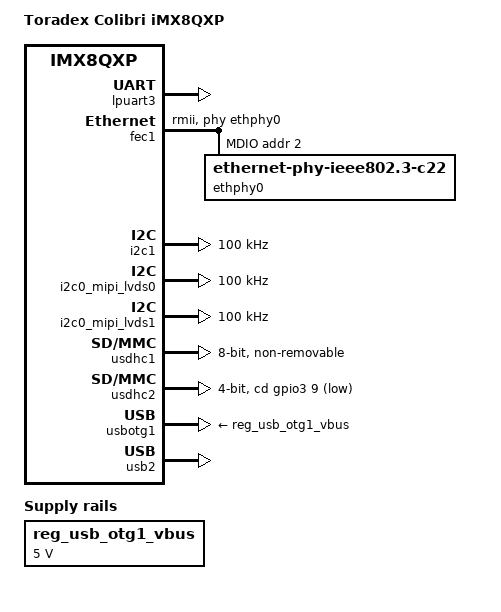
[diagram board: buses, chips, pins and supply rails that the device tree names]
/*
 * Copyright (C) 2018, Toradex AG
 *
 * This program is free software; you can redistribute it and/or
 * modify it under the terms of the GNU General Public License
 * as published by the Free Software Foundation; either version 2
 * of the License, or (at your option) any later version.
 *
 * This program is distributed in the hope that it will be useful,
 * but WITHOUT ANY WARRANTY; without even the implied warranty of
 * MERCHANTABILITY or FITNESS FOR A PARTICULAR PURPOSE.  See the
 * GNU General Public License for more details.
 */

/dts-v1/;

/* First 128KB is for PSCI ATF. */
/* Last 127M is for M4/RPMSG */
/memreserve/ 0x80000000 0x08000000;

#include "fsl-imx8qxp.dtsi"

/ {
	model = "Toradex Colibri iMX8QXP";
	compatible = "toradex,imx8qxp-colibri", "fsl,imx8qxp";

	chosen {
		bootargs = "console=ttyLP3,115200 earlycon=lpuart32,0x5a090000,115200";
		stdout-path = &lpuart3;
	};

	regulators {
		compatible = "simple-bus";
		#address-cells = <1>;
		#size-cells = <0>;

#if 0
		reg_usdhc2_vmmc: usdhc2_vmmc {
			compatible = "regulator-fixed";
			regulator-name = "SD1_SPWR";
			regulator-min-microvolt = <3000000>;
			regulator-max-microvolt = <3000000>;
			gpio = <&gpio4 19 GPIO_ACTIVE_HIGH>;
			enable-active-high;
			startup-delay-us = <100>;
			off-on-delay-us = <12000>;
		};
#endif
		reg_usb_otg1_vbus: regulator@0 {
			compatible = "regulator-fixed";
			reg = <0>;
			regulator-name = "usb_otg1_vbus";
			regulator-min-microvolt = <5000000>;
			regulator-max-microvolt = <5000000>;
			enable-active-high;
		};

	};

};

&iomuxc {
	pinctrl-names = "default";
	imx8qxp-mek {

		pinctrl_lpuart0: lpuart0grp {
			fsl,pins = <
				SC_P_UART0_RX_ADMA_UART0_RX	0x06000020
				SC_P_UART0_TX_ADMA_UART0_TX	0x06000020
			>;
		};

		pinctrl_lpuart3: lpuart3grp {
			fsl,pins = <
				SC_P_FLEXCAN2_RX_ADMA_UART3_RX	0x06000020
				SC_P_FLEXCAN2_TX_ADMA_UART3_TX	0x06000020
			>;
		};

		pinctrl_fec1: fec1grp {
			fsl,pins = <
				SC_P_ENET0_MDC_CONN_ENET0_MDC			0x06000048
				SC_P_ENET0_MDIO_CONN_ENET0_MDIO			0x06000048
				SC_P_ENET0_RGMII_TX_CTL_CONN_ENET0_RGMII_TX_CTL	0x06000048
				SC_P_ENET0_RGMII_TXC_CONN_ENET0_RCLK50M_OUT	0x06000048
				SC_P_ENET0_RGMII_TXD0_CONN_ENET0_RGMII_TXD0	0x06000048
				SC_P_ENET0_RGMII_TXD1_CONN_ENET0_RGMII_TXD1	0x06000048
				SC_P_ENET0_RGMII_RX_CTL_CONN_ENET0_RGMII_RX_CTL	0x06000048
				SC_P_ENET0_RGMII_RXD0_CONN_ENET0_RGMII_RXD0	0x06000048
				SC_P_ENET0_RGMII_RXD1_CONN_ENET0_RGMII_RXD1	0x06000048
				SC_P_ENET0_RGMII_RXD2_CONN_ENET0_RMII_RX_ER	0x06000048
			>;
		};
#if 0
		pinctrl_fec2: fec2grp {
			fsl,pins = <
				SC_P_ESAI0_SCKR_CONN_ENET1_RGMII_TX_CTL		0x06000048
				SC_P_ESAI0_FSR_CONN_ENET1_RGMII_TXC		0x06000048
				SC_P_ESAI0_TX4_RX1_CONN_ENET1_RGMII_TXD0	0x06000048
				SC_P_ESAI0_TX5_RX0_CONN_ENET1_RGMII_TXD1	0x06000048
				SC_P_ESAI0_FST_CONN_ENET1_RGMII_TXD2		0x06000048
				SC_P_ESAI0_SCKT_CONN_ENET1_RGMII_TXD3		0x06000048
				SC_P_ESAI0_TX0_CONN_ENET1_RGMII_RXC		0x06000048
				SC_P_SPDIF0_TX_CONN_ENET1_RGMII_RX_CTL		0x06000048
				SC_P_SPDIF0_RX_CONN_ENET1_RGMII_RXD0		0x06000048
				SC_P_ESAI0_TX3_RX2_CONN_ENET1_RGMII_RXD1	0x06000048
				SC_P_ESAI0_TX2_RX3_CONN_ENET1_RGMII_RXD2	0x06000048
				SC_P_ESAI0_TX1_CONN_ENET1_RGMII_RXD3		0x06000048
			>;
		};
#endif

		pinctrl_lpi2c1: lpi1cgrp {
			fsl,pins = <
				SC_P_MIPI_DSI0_GPIO0_00_ADMA_I2C1_SCL	0x06000020
				SC_P_MIPI_DSI0_GPIO0_01_ADMA_I2C1_SDA	0x06000020
			>;
		};

		pinctrl_usdhc1: usdhc1grp {
			fsl,pins = <
				SC_P_EMMC0_CLK_CONN_EMMC0_CLK		0x06000041
				SC_P_EMMC0_CMD_CONN_EMMC0_CMD		0x00000021
				SC_P_EMMC0_DATA0_CONN_EMMC0_DATA0	0x00000021
				SC_P_EMMC0_DATA1_CONN_EMMC0_DATA1	0x00000021
				SC_P_EMMC0_DATA2_CONN_EMMC0_DATA2	0x00000021
				SC_P_EMMC0_DATA3_CONN_EMMC0_DATA3	0x00000021
				SC_P_EMMC0_DATA4_CONN_EMMC0_DATA4	0x00000021
				SC_P_EMMC0_DATA5_CONN_EMMC0_DATA5	0x00000021
				SC_P_EMMC0_DATA6_CONN_EMMC0_DATA6	0x00000021
				SC_P_EMMC0_DATA7_CONN_EMMC0_DATA7	0x00000021
				SC_P_EMMC0_STROBE_CONN_EMMC0_STROBE	0x06000041
				SC_P_EMMC0_RESET_B_CONN_EMMC0_RESET_B	0x00000021
			>;
		};

		pinctrl_usdhc1_100mhz: usdhc1grp100mhz {
			fsl,pins = <
				SC_P_EMMC0_CLK_CONN_EMMC0_CLK		0x06000040
				SC_P_EMMC0_CMD_CONN_EMMC0_CMD		0x00000020
				SC_P_EMMC0_DATA0_CONN_EMMC0_DATA0	0x00000020
				SC_P_EMMC0_DATA1_CONN_EMMC0_DATA1	0x00000020
				SC_P_EMMC0_DATA2_CONN_EMMC0_DATA2	0x00000020
				SC_P_EMMC0_DATA3_CONN_EMMC0_DATA3	0x00000020
				SC_P_EMMC0_DATA4_CONN_EMMC0_DATA4	0x00000020
				SC_P_EMMC0_DATA5_CONN_EMMC0_DATA5	0x00000020
				SC_P_EMMC0_DATA6_CONN_EMMC0_DATA6	0x00000020
				SC_P_EMMC0_DATA7_CONN_EMMC0_DATA7	0x00000020
				SC_P_EMMC0_STROBE_CONN_EMMC0_STROBE	0x06000040
				SC_P_EMMC0_RESET_B_CONN_EMMC0_RESET_B	0x00000020
			>;
		};

		pinctrl_usdhc1_200mhz: usdhc1grp200mhz {
			fsl,pins = <
				SC_P_EMMC0_CLK_CONN_EMMC0_CLK		0x06000040
				SC_P_EMMC0_CMD_CONN_EMMC0_CMD		0x00000020
				SC_P_EMMC0_DATA0_CONN_EMMC0_DATA0	0x00000020
				SC_P_EMMC0_DATA1_CONN_EMMC0_DATA1	0x00000020
				SC_P_EMMC0_DATA2_CONN_EMMC0_DATA2	0x00000020
				SC_P_EMMC0_DATA3_CONN_EMMC0_DATA3	0x00000020
				SC_P_EMMC0_DATA4_CONN_EMMC0_DATA4	0x00000020
				SC_P_EMMC0_DATA5_CONN_EMMC0_DATA5	0x00000020
				SC_P_EMMC0_DATA6_CONN_EMMC0_DATA6	0x00000020
				SC_P_EMMC0_DATA7_CONN_EMMC0_DATA7	0x00000020
				SC_P_EMMC0_STROBE_CONN_EMMC0_STROBE	0x06000040
				SC_P_EMMC0_RESET_B_CONN_EMMC0_RESET_B	0x00000020
			>;
		};

		pinctrl_usdhc2_gpio: usdhc2gpiogrp {
			fsl,pins = <
				SC_P_QSPI0A_DATA0_LSIO_GPIO3_IO09	0x06000021
			>;
		};

		pinctrl_usdhc2: usdhc2grp {
			fsl,pins = <
				SC_P_USDHC1_CLK_CONN_USDHC1_CLK		0x06000041
				SC_P_USDHC1_CMD_CONN_USDHC1_CMD		0x06000021
				SC_P_USDHC1_DATA0_CONN_USDHC1_DATA0	0x06000021
				SC_P_USDHC1_DATA1_CONN_USDHC1_DATA1	0x06000021
				SC_P_USDHC1_DATA2_CONN_USDHC1_DATA2	0x06000021
				SC_P_USDHC1_DATA3_CONN_USDHC1_DATA3	0x06000021
				SC_P_USDHC1_VSELECT_CONN_USDHC1_VSELECT	0x06000021
			>;
		};

		pinctrl_usdhc2_100mhz: usdhc2grp100mhz {
			fsl,pins = <
				SC_P_USDHC1_CLK_CONN_USDHC1_CLK		0x06000040
				SC_P_USDHC1_CMD_CONN_USDHC1_CMD		0x06000020
				SC_P_USDHC1_DATA0_CONN_USDHC1_DATA0	0x06000020
				SC_P_USDHC1_DATA1_CONN_USDHC1_DATA1	0x06000020
				SC_P_USDHC1_DATA2_CONN_USDHC1_DATA2	0x06000020
				SC_P_USDHC1_DATA3_CONN_USDHC1_DATA3	0x06000020
				SC_P_USDHC1_VSELECT_CONN_USDHC1_VSELECT	0x06000020
			>;
		};

		pinctrl_usdhc2_200mhz: usdhc2grp200mhz {
			fsl,pins = <
				SC_P_USDHC1_CLK_CONN_USDHC1_CLK		0x06000040
				SC_P_USDHC1_CMD_CONN_USDHC1_CMD		0x06000020
				SC_P_USDHC1_DATA0_CONN_USDHC1_DATA0	0x06000020
				SC_P_USDHC1_DATA1_CONN_USDHC1_DATA1	0x06000020
				SC_P_USDHC1_DATA2_CONN_USDHC1_DATA2	0x06000020
				SC_P_USDHC1_DATA3_CONN_USDHC1_DATA3	0x06000020
				SC_P_USDHC1_VSELECT_CONN_USDHC1_VSELECT	0x06000020
			>;
		};
#if 0
		pinctrl_flexspi0: flexspi0grp {
			fsl,pins = <
				SC_P_QSPI0A_DATA0_LSIO_QSPI0A_DATA0	0x0600004c
				SC_P_QSPI0A_DATA1_LSIO_QSPI0A_DATA1	0x0600004c
				SC_P_QSPI0A_DATA2_LSIO_QSPI0A_DATA2	0x0600004c
				SC_P_QSPI0A_DATA3_LSIO_QSPI0A_DATA3	0x0600004c
				SC_P_QSPI0A_DQS_LSIO_QSPI0A_DQS		0x0600004c
				SC_P_QSPI0A_SS0_B_LSIO_QSPI0A_SS0_B	0x0600004c
				SC_P_QSPI0A_SS1_B_LSIO_QSPI0A_SS1_B	0x0600004c
				SC_P_QSPI0A_SCLK_LSIO_QSPI0A_SCLK	0x0600004c
				SC_P_QSPI0B_SCLK_LSIO_QSPI0B_SCLK	0x0600004c
				SC_P_QSPI0B_DATA0_LSIO_QSPI0B_DATA0	0x0600004c
				SC_P_QSPI0B_DATA1_LSIO_QSPI0B_DATA1	0x0600004c
				SC_P_QSPI0B_DATA2_LSIO_QSPI0B_DATA2	0x0600004c
				SC_P_QSPI0B_DATA3_LSIO_QSPI0B_DATA3	0x0600004c
				SC_P_QSPI0B_DQS_LSIO_QSPI0B_DQS		0x0600004c
				SC_P_QSPI0B_SS0_B_LSIO_QSPI0B_SS0_B	0x0600004c
				SC_P_QSPI0B_SS1_B_LSIO_QSPI0B_SS1_B	0x0600004c
			>;
		};
#endif
		pinctrl_i2c0_mipi_lvds0: mipi_lvds0_i2c0_grp {
			fsl,pins = <
				SC_P_MIPI_DSI0_I2C0_SCL_MIPI_DSI0_I2C0_SCL 0xc6000020
				SC_P_MIPI_DSI0_I2C0_SDA_MIPI_DSI0_I2C0_SDA 0xc6000020
			>;
		};

		pinctrl_i2c0_mipi_lvds1: mipi_lvds1_i2c0_grp {
			fsl,pins = <
				SC_P_MIPI_DSI1_I2C0_SCL_MIPI_DSI1_I2C0_SCL 0xc6000020
				SC_P_MIPI_DSI1_I2C0_SDA_MIPI_DSI1_I2C0_SDA 0xc6000020
			>;
		};
	};
};

&lpuart0 {
	pinctrl-names = "default";
	pinctrl-0 = <&pinctrl_lpuart0>;
	status = "disabled";
};

&lpuart3 {
	pinctrl-names = "default";
	pinctrl-0 = <&pinctrl_lpuart3>;
	status = "okay";
};

&gpio0 {
	status = "okay";
};

&gpio1 {
	status = "okay";
};

&gpio3 {
	status = "okay";
};

&gpio4 {
	status = "okay";
};

&fec1 {
	pinctrl-names = "default";
	pinctrl-0 = <&pinctrl_fec1>;
	phy-mode = "rmii";
	phy-handle = <&ethphy0>;
//TODO	fsl,magic-packet;
	status = "okay";

	mdio {
		#address-cells = <1>;
		#size-cells = <0>;

		ethphy0: ethernet-phy@2 {
			compatible = "ethernet-phy-ieee802.3-c22";
			max-speed = <100>;
			reg = <2>;
		};
	};
};
#if 0
&flexspi0 {
	pinctrl-names = "default";
	pinctrl-0 = <&pinctrl_flexspi0>;
	status = "okay";

	flash0: mt35xu512aba@0 {
		reg = <0>;
		#address-cells = <1>;
		#size-cells = <1>;
		compatible = "spi-flash";
		spi-max-frequency = <29000000>;
		spi-nor,ddr-quad-read-dummy = <8>;
	};
};
#endif

&i2c1 {
	#address-cells = <1>;
	#size-cells = <0>;
	clock-frequency = <100000>;
	pinctrl-names = "default";
	pinctrl-0 = <&pinctrl_lpi2c1>;
	status = "okay";
};

&i2c0_mipi_lvds0 {
	#address-cells = <1>;
	#size-cells = <0>;
	pinctrl-names = "default";
	pinctrl-0 = <&pinctrl_i2c0_mipi_lvds0>;
	clock-frequency = <100000>;
	status = "okay";
};

&i2c0_mipi_lvds1 {
	#address-cells = <1>;
	#size-cells = <0>;
	pinctrl-names = "default";
	pinctrl-0 = <&pinctrl_i2c0_mipi_lvds1>;
	clock-frequency = <100000>;
	status = "okay";
};

&usdhc1 {
	pinctrl-names = "default", "state_100mhz", "state_200mhz";
	pinctrl-0 = <&pinctrl_usdhc1>;
	pinctrl-1 = <&pinctrl_usdhc1_100mhz>;
	pinctrl-2 = <&pinctrl_usdhc1_200mhz>;
	bus-width = <8>;
	non-removable;
	status = "okay";
};

&usdhc2 {
	pinctrl-names = "default", "state_100mhz", "state_200mhz";
	pinctrl-0 = <&pinctrl_usdhc2>, <&pinctrl_usdhc2_gpio>;
	pinctrl-1 = <&pinctrl_usdhc2_100mhz>, <&pinctrl_usdhc2_gpio>;
	pinctrl-2 = <&pinctrl_usdhc2_200mhz>, <&pinctrl_usdhc2_gpio>;
	bus-width = <4>;
	cd-gpios = <&gpio3 9 GPIO_ACTIVE_LOW>;
/*	vmmc-supply = <&reg_usdhc2_vmmc>; */
	status = "okay";
};

&usbotg1 {
	vbus-supply = <&reg_usb_otg1_vbus>;
	srp-disable;
	hnp-disable;
	adp-disable;
	power-polarity-active-high;
	disable-over-current;
	status = "okay";
};

&usb2 {
	status = "okay";
};
